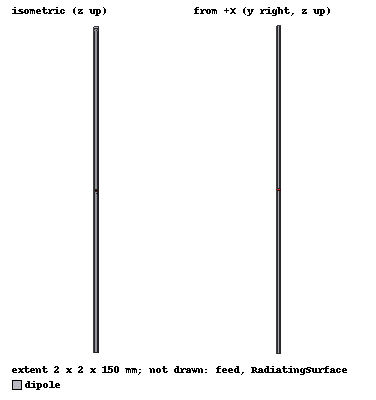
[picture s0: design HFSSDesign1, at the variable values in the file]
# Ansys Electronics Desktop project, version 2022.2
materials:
  vacuum: permittivity=1
  pec: conductivity=1e+30

design HFSSDesign1 (HFSS, DrivenModal, model units mm)
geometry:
  dipole [pec] = cylinder(axis=Z, base_centre=(0mm, 0mm, -75mm), radius=1mm, height=150mm)
  feed [vacuum] = cylinder(axis=Z, base_centre=(0mm, 0mm, -0.5mm), radius=1mm, height=1mm)
  feed_1 = feed.copy()
  dipole.subtract(feed_1)
  feed_Section1 = feed.section(plane=YZ)
  RadiatingSurface [vacuum] = region(absolute_offset=100mm on all sides)
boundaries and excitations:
  Open1: Radiation Objects=RadiatingSurface
  1: Lumped Port Objects=feed_Section1 Modes{Mode1{IntLine{(0, 0, -0.5) -> (0, 0, 0.5)} CharImp=Zpi RenormImp=50ohm}} Impedance=50ohm
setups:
  Setup1: HfssDriven Frequency=1GHz MaxDeltaS=0.02 MaximumPasses=6 MinimumPasses=1 MinimumConvergedPasses=1 PercentRefinement=30 BasisOrder=1 PortAccuracy=2 DrivenSolverType="Direct Solver"
    sweep Sweep: 700MHz to 1.3GHz step 1MHz; Type=Fast SaveFields
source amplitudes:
  1:1: 1W 0deg
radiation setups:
  3D: Infinite Sphere Theta=0deg..180deg step 2deg Phi=-180deg..180deg step 2deg
  Elevation: Infinite Sphere Theta=-180deg..180deg step 1deg Phi=0deg..90deg step 90deg
  Azimuth: Infinite Sphere Theta=90deg..90deg step 0deg Phi=-180deg..180deg step 1deg
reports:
  S Parameter Plot 1: dB(S(1,1)) vs Freq on Setup1 : Sweep
  VSWR Plot 1: VSWR(1) vs Freq on Setup1 : Sweep
  S Parameter Plot 2: dB(S(1,1)) vs Freq, Freq on Setup1 : Sweep
  S Parameter Plot 3: dB(S(1,1)) vs Freq, Freq on Setup1 : Sweep
  S Parameter Plot 4: dB(S(1,1)) vs Freq, Freq on Setup1 : Sweep
  Gain Plot 1: GainTotal vs Phi, Theta on Setup1 : LastAdaptive, 3D [Freq=1GHz]
  Gain Plot 2: GainTotal vs Phi, Theta on Setup1 : LastAdaptive, 3D [Freq=1GHz]
  S Parameter Plot 5: dB(S(1,1)) vs Freq on Setup1 : Sweep
  S Parameter Plot 6: dB(S(1,1)) vs Freq on Setup1 : Sweep
